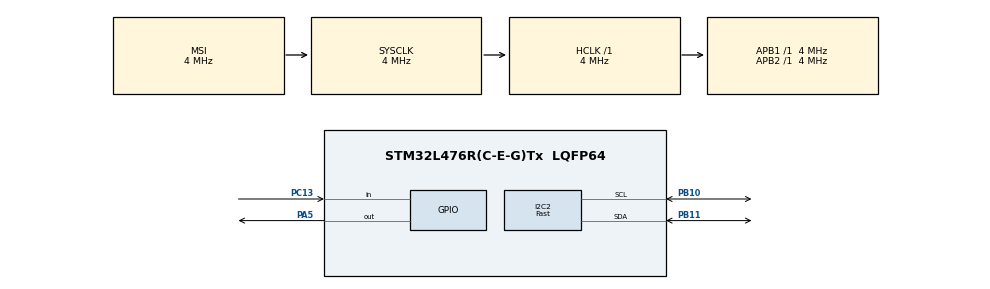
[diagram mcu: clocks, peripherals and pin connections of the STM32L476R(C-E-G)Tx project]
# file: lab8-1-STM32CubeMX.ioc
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I2C2.I2C_Speed_Mode=I2C_Fast
I2C2.Timing=0x00000004
Mcu.Family=STM32L4
Mcu.Name=STM32L476R(C-E-G)Tx
Mcu.Package=LQFP64
NVIC.PriorityGroup=NVIC_PRIORITYGROUP_4
PA14\ (JTCK-SWCLK).GPIO_Label=TCK
PA14\ (JTCK-SWCLK).Signal=SYS_JTCK-SWCLK
PA2.GPIO_Label=USART_TX
PA2.GPIO_Mode=GPIO_MODE_AF_PP
PA2.GPIO_PuPd=GPIO_NOPULL
PA2.GPIO_Speed=GPIO_SPEED_FREQ_VERY_HIGH
PA2.Signal=USART2_TX
PA3.GPIO_Label=USART_RX
PA3.GPIO_Mode=GPIO_MODE_AF_PP
PA3.GPIO_PuPd=GPIO_NOPULL
PA3.GPIO_Speed=GPIO_SPEED_FREQ_VERY_HIGH
PA3.Signal=USART2_RX
PA5.Signal=GPIO_Output
PB10.Mode=I2C
PB10.Signal=I2C2_SCL
PB11.Mode=I2C
PB11.Signal=I2C2_SDA
PB3\ (JTDO-TRACESWO).GPIO_Label=SWO
PB3\ (JTDO-TRACESWO).Signal=SYS_JTDO-SWO
PC13.Signal=GPIO_Input
PC14-OSC32_IN\ (PC14).Mode=LSE-External-Oscillator
PC14-OSC32_IN\ (PC14).Signal=RCC_OSC32_IN
PC15-OSC32_OUT\ (PC15).Mode=LSE-External-Oscillator
PC15-OSC32_OUT\ (PC15).Signal=RCC_OSC32_OUT
PH0-OSC_IN\ (PH0).Signal=RCC_OSC_IN
PH1-OSC_OUT\ (PH1).Signal=RCC_OSC_OUT
ProjectManager.HeapSize=0x200
ProjectManager.StackSize=0x400
ProjectManager.TargetToolchain=SW4STM32
RCC.ADCFreq_Value=64000000
RCC.AHBFreq_Value=4000000
RCC.APB1Freq_Value=4000000
RCC.APB1TimFreq_Value=4000000
RCC.APB2Freq_Value=4000000
RCC.APB2TimFreq_Value=4000000
RCC.CortexFreq_Value=4000000
RCC.HCLKFreq_Value=4000000
RCC.HSE_VALUE=8000000
RCC.HSI_VALUE=16000000
RCC.MSI_VALUE=4000000
RCC.PLLN=10
RCC.PLLSourceVirtual=RCC_PLLSOURCE_HSI
RCC.PREFETCH_ENABLE=1
RCC.SYSCLKFreq_VALUE=4000000
RCC.USBFreq_Value=64000000
RCC.VCOOutputFreq_Value=160000000
board=NUCLEO-L476RG

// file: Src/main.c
/* USER CODE BEGIN Header */
/**
  ******************************************************************************
  * @file           : main.c
  * @brief          : Main program body
  ******************************************************************************
  * @attention
  *
  * <h2><center>&copy; Copyright (c) 2019 STMicroelectronics.
  * All rights reserved.</center></h2>
  *
  * This software component is licensed by ST under BSD 3-Clause license,
  * the "License"; You may not use this file except in compliance with the
  * License. You may obtain a copy of the License at:
  *                        opensource.org/licenses/BSD-3-Clause
  *
  ******************************************************************************
  */
/* USER CODE END Header */

#include "main.h"

/* USER CODE BEGIN Includes */
#include "sd_hal_mpu6050.h"
#include "stm32l476xx.h"
/* USER CODE END Includes */

/* USER CODE BEGIN PD */
#define SET_REG(REG,SELECT,VAL) {((REG)=((REG)&(~(SELECT))) | (VAL));}
/* USER CODE END PD */

I2C_HandleTypeDef hi2c2;

/* USER CODE BEGIN PV */
// SD_MPU6050 mpu1;
// int16_t a_x, a_y, a_z;
// unsigned long long total;
// uint32_t previous_cnt = 0;
/* USER CODE END PV */

void SystemClock_Config(void);
static void MX_GPIO_Init(void);
static void MX_I2C2_Init(void);
/* USER CODE BEGIN PFP */
extern void max7219_send(unsigned char address, unsigned char data);
extern void max7219_init();
extern void Delay1sWith4MHz();
/* USER CODE END PFP */

/* USER CODE BEGIN 0 */
void speed_init() {
	// 光遮斷器
	RCC->AHB2ENR = RCC->AHB2ENR|0x7;
	//Set PB5 as INPUT mode
	SET_REG(GPIOB->MODER,GPIO_MODER_MODE5 ,0b00<<10);
	//set PB5 is Pull-down input
	SET_REG(GPIOB->PUPDR,GPIO_PUPDR_PUPD5 ,0b10<<10);
	//Set PB5 as high speed mode
	SET_REG(GPIOB->OSPEEDR,GPIO_OSPEEDR_OSPEED5 ,0b11<<10);
}
void led_test(){
	SET_REG(GPIOA->MODER,GPIO_MODER_MODE5 ,0b01<<10);
}
void EXTI_config(){
	SET_REG(RCC->APB2ENR, RCC_APB2ENR_SYSCFGEN, 1);

	SET_REG(SYSCFG->EXTICR[1], SYSCFG_EXTICR1_EXTI1, 0b001<<4);

	SET_REG(EXTI->IMR1, EXTI_IMR1_IM5, 1<<5);

	SET_REG(EXTI->EMR1, EXTI_EMR1_EM5, 0<<5);

	SET_REG(EXTI->RTSR1, EXTI_RTSR1_RT5, 1<<5);

	SET_REG(EXTI->FTSR1, EXTI_FTSR1_FT5, 0<<5);
}
void EXTI9_5_IRQHandler(void) {
	// 光遮斷器被遮斷時
	TIM2->CR1 &= ~TIM_CR1_CEN;
	double time=TIM2->CNT/1000000.0;
	/*if (previous_cnt - TIM2->CNT < -500000 && !(GPIOB->IDR&1<<0) && !(GPIOC->IDR&1<<0) && !(GPIOC->IDR&1<<1))
		GPIOC->BSRR = 0b11 << 2;
	else if (previous_cnt = TIM2->CNT && !(GPIOB->IDR&1<<0) && !(GPIOC->IDR&1<<0) && !(GPIOC->IDR&1<<1))
		GPIOC->BRR = 0b11 << 2;
	previous_cnt = TIM2->CNT;*/
	int speed=3.45/time *18/5; //meter per sec
	for(int i=1;i<3;i++){
		int data = speed%10;
		max7219_send(i,(char)data);
		speed=speed/10;
	}
	max7219_send(3, 15);
	max7219_send(4, 15);
	max7219_send(6, 15);
	max7219_send(7, 15);
	while(GPIOB->IDR&1<<5);
	Delay1sWith4MHz();
	Timer2_init();
	Timer2_start();
	SET_REG(EXTI->PR1, 1<<5,1<<5 );
}
int counter=0;
/*void EXTI9_5_IRQHandler(void){
	counter++;
	while(GPIOB->IDR&1<<5);
	Delay1sWith4MHz();
	SET_REG(EXTI->PR1, 1<<5,1<<5 );
}*/
void NVIC_config(){
	SET_REG(*(uint32_t *)0xE000E100, 0x0,1<<23 );
	SET_REG(*(uint32_t *)0xE000E100, 0x0,1<<28 );
	SET_REG(*(uint32_t *)0xE000E100, 0x0,1<<29 );
}

void Timer2_init(void){
	// 時速計時
	//Initialize timer
	TIM2->CR1 &= ~TIM_CR1_CEN;
	RCC->APB1ENR1 |= RCC_APB1ENR1_TIM2EN;
	SET_REG(TIM2->CR1, TIM_CR1_UDIS, 0 << 1);    //set timer interrupt
	SET_REG(TIM2->CR1, TIM_CR1_URS, 1 << 2);	//set timer interrupt
	SET_REG(TIM2->DIER, TIM_DIER_UDE, 1 << 8);  //set timer interrupt
	SET_REG(TIM2->DIER, TIM_DIER_UIE, 1 << 0);  //set timer interrupt
	SET_REG(TIM2->CR1, TIM_CR1_DIR, 0 << 4);// Edge-aligned mode, up counter
	SET_REG(TIM2->CCMR1, TIM_CCMR1_OC1M, 0b110 << 4);/*!<OC1M[2:0] bits (Output Compare 1 Mode) */
	SET_REG(TIM2->CCMR1, TIM_CCMR1_OC1PE, 0b1 << 3);/*!<Output Compare 1 Preload enable */
	SET_REG(TIM2->CR1, TIM_CR1_ARPE, 0b1 << 7);/*!<Auto-reload preload enable */
	SET_REG(TIM2->CCER, TIM_CCER_CC1P, 0b1 << 1); /*!<Capture/Compare 1 output Polarity */
	SET_REG(TIM2->CCER, TIM_CCER_CC1E, 0b1);/*!<Capture/Compare 1 output enable */
	SET_REG(TIM2->CCR1, TIM_CCR1_CCR1, 20000000/ 2);
	TIM2->ARR = (uint32_t)20000000;//Reload value 10s explosion
	TIM2->PSC = (uint32_t)1;//Prescaler /2 = 2MHz
	//TIM2->ARR = (uint32_t)4000000;//Reload value 1s explosion
	//TIM2->PSC = (uint32_t)0;//Prescaler  = 4MHz
	TIM2->EGR = TIM_EGR_UG;//Reinitialize the counter
}
void Timer3_init(void){
	// 方向燈每秒閃一次
	//Initialize timer
	TIM3->CR1 &= ~TIM_CR1_CEN;
	RCC->APB1ENR1 |= RCC_APB1ENR1_TIM3EN;
	SET_REG(TIM3->CR1, TIM_CR1_UDIS, 0 << 1);    //set timer interrupt
	SET_REG(TIM3->CR1, TIM_CR1_URS, 1 << 2);	//set timer interrupt
	SET_REG(TIM3->DIER, TIM_DIER_UDE, 1 << 8);  //set timer interrupt
	SET_REG(TIM3->DIER, TIM_DIER_UIE, 1 << 0);  //set timer interrupt
	SET_REG(TIM3->CR1, TIM_CR1_DIR, 0 << 4);// Edge-aligned mode, up counter
	SET_REG(TIM3->CCMR1, TIM_CCMR1_OC1M, 0b110 << 4);/*!<OC1M[2:0] bits (Output Compare 1 Mode) */
	SET_REG(TIM3->CCMR1, TIM_CCMR1_OC1PE, 0b1 << 3);/*!<Output Compare 1 Preload enable */
	SET_REG(TIM3->CR1, TIM_CR1_ARPE, 0b1 << 7);/*!<Auto-reload preload enable */
	SET_REG(TIM3->CCER, TIM_CCER_CC1P, 0b1 << 1); /*!<Capture/Compare 1 output Polarity */
	SET_REG(TIM3->CCER, TIM_CCER_CC1E, 0b1);/*!<Capture/Compare 1 output enable */
	//SET_REG(TIM3->CCR1, TIM_CCR1_CCR1, 20000000/ 2);
	//TIM3->ARR = (uint32_t)20000000;//Reload value 10s explosion
	//TIM3->PSC = (uint32_t)1;//Prescaler /2 = 2MHz
	TIM3->ARR = (uint32_t)10000;//Reload value 1s explosion
	TIM3->PSC = (uint32_t)399;//Prescaler  = 4MHz/400
	TIM3->EGR = TIM_EGR_UG;//Reinitialize the counter
}
void Direction_light_init(void){
	// PC01 方向燈三段式按鈕
	// PC23 左右方向燈
	RCC->AHB2ENR = RCC->AHB2ENR|0x7;
	//Set PC01 as INPUT mode
	SET_REG(GPIOC->MODER,GPIO_MODER_MODE0 ,0b00<<0);
	SET_REG(GPIOC->MODER,GPIO_MODER_MODE1 ,0b00<<2);
	//set PC01 is Pull-down inputGPIO_PUPDR_PUPD5
	SET_REG(GPIOC->PUPDR,GPIO_PUPDR_PUPD0 ,0b10<<0);
	SET_REG(GPIOC->PUPDR,GPIO_PUPDR_PUPD1 ,0b10<<2);
	//Set PC01 as high speed mode
	SET_REG(GPIOC->OSPEEDR,GPIO_OSPEEDR_OSPEED0 ,0b11<0);
	SET_REG(GPIOC->OSPEEDR,GPIO_OSPEEDR_OSPEED1 ,0b11<2);
	//set PC23 output mode
	SET_REG(GPIOC->MODER,GPIO_MODER_MODE2 ,0b01<<4);
	SET_REG(GPIOC->MODER,GPIO_MODER_MODE3 ,0b01<<6);
}
void Direction_light_detect(void){
	if(!(TIM3->SR &1)) {
		if((GPIOC->IDR&1<<0)||(GPIOC->IDR&1<<1)||(GPIOB->IDR&1<<0))
			Timer3_start();
		else
			GPIOC->BRR|=0b11<<2;
	}
}
void TIM2_IRQHandler(void){
	/*int speed = counter*3.45*18/5;
	for(int i=1;i<4;i++){
		int data = speed%10;
		max7219_send(i,(char)data);
		speed=speed/10;
	}
	counter=0;*/
	for(int i=1;i<=2;i++){
		max7219_send(i,(char)0);
	}
	SET_REG(TIM2->SR,0x1, 0); //clear interrupt pending
}
void TIM3_IRQHandler(void){
	// 判斷哪個方向燈要閃
	TIM3->CR1 &= ~TIM_CR1_CEN;
	if(GPIOC->ODR&1<<2||GPIOC->ODR&1<<3)
		GPIOC->BRR|=0b11<<2;//turn off the light
	else if(GPIOB->IDR&1<<0) {
		GPIOC->BSRR|=0b11<<2;
		max7219_send(5, 10);
		max7219_send(8, 10);
	}
	else if(GPIOC->IDR&1<<0) {
		GPIOC->BSRR|=1<<2;
		max7219_send(5, 15);
		max7219_send(8, 10);
	}
	else if(GPIOC->IDR&1<<1) {
		GPIOC->BSRR|=1<<3;
		max7219_send(5, 10);
		max7219_send(8, 15);
	}
	else {
		max7219_send(5, 15);
		max7219_send(8, 15);
	}
	Timer3_init();
	SET_REG(TIM3->SR,0x1, 0); //clear interrupt pending

}
void Timer2_start(void){
	TIM2->CR1 |= TIM_CR1_CEN;
}
void Timer3_start(void){
	TIM3->CR1 |= TIM_CR1_CEN;
}
void GPIO_init_AF(){
	//Initial PB7 as alternate function for buzzer.
	RCC->AHB2ENR |= 0b111;
	SET_REG(GPIOB->MODER, 0b11<<14, 0b10<<14);
	SET_REG(GPIOB->AFR[0], GPIO_AFRL_AFSEL7, 0x02<<28);
}
void Timer4_init(){
	// 蜂鳴器
	//Initialize timer
	TIM4->CR1 &= ~TIM_CR1_CEN;
	RCC->APB1ENR1 |= RCC_APB1ENR1_TIM4EN;
	SET_REG(TIM4->CR1, TIM_CR1_DIR, 0 << 4);// Edge-aligned mode, up counter
	SET_REG(TIM4->CCMR1, TIM_CCMR1_OC2M, 0b110 << 12);/*!<OC1M[2:0] bits (Output Compare 1 Mode) */
	SET_REG(TIM4->CCMR1, TIM_CCMR1_OC2PE, 0b1 << 11);/*!<Output Compare 1 Preload enable */
	SET_REG(TIM4->CR1, TIM_CR1_ARPE, 0b1 << 7);/*!<Auto-reload preload enable */
	SET_REG(TIM4->CCER, TIM_CCER_CC2P, 0b1 << 5); /*!<Capture/Compare 1 output Polarity */
	SET_REG(TIM4->CCER, TIM_CCER_CC2E, 0b1<<4);/*!<Capture/Compare 1 output enable */
	//SET_REG(TIM4->CCR1, TIM_CCR1_CCR1, 382 / 2);
	SET_REG(TIM4->CCR2, TIM_CCR2_CCR2, 382 / 2);
	TIM4->ARR = (uint32_t)382;//Reload value
	TIM4->PSC = (uint32_t)40;//Prescaler
	TIM4->EGR = TIM_EGR_UG;//Reinitialize the counter
}
void double_light_init() {
	// 雙黃燈
	RCC->AHB2ENR = RCC->AHB2ENR|0x7;
	//Set PB0 as INPUT mode
	SET_REG(GPIOB->MODER,GPIO_MODER_MODE0 ,0b00<<0);
	//set PB0 is Pull-down input
	SET_REG(GPIOB->PUPDR,GPIO_PUPDR_PUPD0 ,0b10<<0);
	//Set PB0 as high speed mode
	SET_REG(GPIOB->OSPEEDR,GPIO_OSPEEDR_OSPEED0 ,0b11<<0);
}
void GPIO_init_ButtonANDBuzzer() {
	RCC->AHB2ENR = RCC->AHB2ENR|0x1;
	//Set PA10 as INPUT mode
	SET_REG(GPIOA->MODER,GPIO_MODER_MODE10 ,0b00<<20);
	//set PA10 is Pull-down input
	SET_REG(GPIOA->PUPDR,GPIO_PUPDR_PUPD10 ,0b10<<20);
}
/*
void ReadAcc(int16_t *x, int16_t *y, int16_t *z, unsigned long long *total) {
	SD_MPU6050_ReadAccelerometer(&hi2c2,&mpu1);
	*x = mpu1.Accelerometer_X - _x;
	*y = mpu1.Accelerometer_Y - _y;
	*z = mpu1.Accelerometer_Z - _z;
	*total = (*x)*(*x) + (*y)*(*y) + (*z)*(*z);
}
*/

/* USER CODE END 0 */

int main(void)
{
  /* USER CODE BEGIN 1 */
  // SD_MPU6050_Result result;
  /* USER CODE END 1 */

  /* MCU Configuration--------------------------------------------------------*/

  /* Reset of all peripherals, Initializes the Flash interface and the Systick. */
  HAL_Init();

  /* Configure the system clock */
  SystemClock_Config();

  /* Initialize all configured peripherals */
  MX_GPIO_Init();
  MX_I2C2_Init();
  /* USER CODE BEGIN 2 */
  speed_init();
  //led_test();
  EXTI_config();
  NVIC_config();
  Timer2_init();
  Timer2_start();
  max7219_init();
  Timer3_init();
  Timer4_init();
  GPIO_init_AF();
  Direction_light_init();
  double_light_init();
  GPIO_init_ButtonANDBuzzer();
  TIM4->CR1 |= TIM_CR1_CEN;
  // result = SD_MPU6050_Init(&hi2c2,&mpu1,SD_MPU6050_Device_0,SD_MPU6050_Accelerometer_4G,SD_MPU6050_Gyroscope_250s);
  /* USER CODE END 2 */

  /* Infinite loop */
  /* USER CODE BEGIN WHILE */
  while (1)
  {
    HAL_Delay(10);
    max7219_send(3, 15);
	max7219_send(4, 15);
	max7219_send(6, 15);
	max7219_send(7, 15);
    /* USER CODE END WHILE */
	// SD_MPU6050_ReadTemperature(&hi2c2,&mpu1);
	// float temper = mpu1.Temperature;
    /*
	SD_MPU6050_ReadGyroscope(&hi2c2,&mpu1);
	int16_t g_x = mpu1.Gyroscope_X;
	int16_t g_y = mpu1.Gyroscope_Y;
	int16_t g_z = mpu1.Gyroscope_Z;
	*/
    /* USER CODE BEGIN 3 */
    // SD_MPU6050_ReadAccelerometer(&hi2c2,&mpu1);
    // int16_t a_x = mpu1.Accelerometer_X;
 	// int16_t a_y = mpu1.Accelerometer_Y;
    // int16_t a_z = mpu1.Accelerometer_Z;
	// ReadAcc(&a_x, &a_y, &a_z, &total);
	// if (a_y > -1000 && a_y < 1000)
	// 	a_y = 0;
    if (GPIOA->IDR & 1<<10) {
    	SET_REG(GPIOB->AFR[0], GPIO_AFRL_AFSEL7, 0x02<<28);
    }
    else {
    	SET_REG(GPIOB->AFR[0], GPIO_AFRL_AFSEL7, 0x00<<28);
    }
	Direction_light_detect();
	/*
	if (a_y < 0)
		max7219_send(8, (char)10); // -
	else
		max7219_send(8, (char)15); // blank
	int i;
	for(i=3;i<8;i++){
		int16_t data = a_y % 10;
		data = data < 0 ? -data : data;
		max7219_send(i,(char)data);
		a_y /= 10;
	}
	*/
  }
  /* USER CODE END 3 */
}

void SystemClock_Config(void)
{
  RCC_OscInitTypeDef RCC_OscInitStruct = {0};
  RCC_ClkInitTypeDef RCC_ClkInitStruct = {0};
  RCC_PeriphCLKInitTypeDef PeriphClkInit = {0};

  /** Configure LSE Drive Capability
  */
  HAL_PWR_EnableBkUpAccess();
  __HAL_RCC_LSEDRIVE_CONFIG(RCC_LSEDRIVE_LOW);
  /** Initializes the CPU, AHB and APB busses clocks
  */
  RCC_OscInitStruct.OscillatorType = RCC_OSCILLATORTYPE_LSE|RCC_OSCILLATORTYPE_MSI;
  RCC_OscInitStruct.LSEState = RCC_LSE_ON;
  RCC_OscInitStruct.MSIState = RCC_MSI_ON;
  RCC_OscInitStruct.MSICalibrationValue = 0;
  RCC_OscInitStruct.MSIClockRange = RCC_MSIRANGE_6;
  RCC_OscInitStruct.PLL.PLLState = RCC_PLL_NONE;
  if (HAL_RCC_OscConfig(&RCC_OscInitStruct) != HAL_OK)
  {
    Error_Handler();
  }
  /** Initializes the CPU, AHB and APB busses clocks
  */
  RCC_ClkInitStruct.ClockType = RCC_CLOCKTYPE_HCLK|RCC_CLOCKTYPE_SYSCLK
                              |RCC_CLOCKTYPE_PCLK1|RCC_CLOCKTYPE_PCLK2;
  RCC_ClkInitStruct.SYSCLKSource = RCC_SYSCLKSOURCE_MSI;
  RCC_ClkInitStruct.AHBCLKDivider = RCC_SYSCLK_DIV1;
  RCC_ClkInitStruct.APB1CLKDivider = RCC_HCLK_DIV1;
  RCC_ClkInitStruct.APB2CLKDivider = RCC_HCLK_DIV1;

  if (HAL_RCC_ClockConfig(&RCC_ClkInitStruct, FLASH_LATENCY_0) != HAL_OK)
  {
    Error_Handler();
  }
  PeriphClkInit.PeriphClockSelection = RCC_PERIPHCLK_I2C2;
  PeriphClkInit.I2c2ClockSelection = RCC_I2C2CLKSOURCE_PCLK1;
  if (HAL_RCCEx_PeriphCLKConfig(&PeriphClkInit) != HAL_OK)
  {
    Error_Handler();
  }
  /** Configure the main internal regulator output voltage
  */
  if (HAL_PWREx_ControlVoltageScaling(PWR_REGULATOR_VOLTAGE_SCALE1) != HAL_OK)
  {
    Error_Handler();
  }
  /** Enable MSI Auto calibration
  */
  HAL_RCCEx_EnableMSIPLLMode();
}

static void MX_I2C2_Init(void)
{

  hi2c2.Instance = I2C2;
  hi2c2.Init.Timing = 0x00000004;
  hi2c2.Init.OwnAddress1 = 0;
  hi2c2.Init.AddressingMode = I2C_ADDRESSINGMODE_7BIT;
  hi2c2.Init.DualAddressMode = I2C_DUALADDRESS_DISABLE;
  hi2c2.Init.OwnAddress2 = 0;
  hi2c2.Init.OwnAddress2Masks = I2C_OA2_NOMASK;
  hi2c2.Init.GeneralCallMode = I2C_GENERALCALL_DISABLE;
  hi2c2.Init.NoStretchMode = I2C_NOSTRETCH_DISABLE;
  if (HAL_I2C_Init(&hi2c2) != HAL_OK)
  {
    Error_Handler();
  }
  /** Configure Analogue filter
  */
  if (HAL_I2CEx_ConfigAnalogFilter(&hi2c2, I2C_ANALOGFILTER_ENABLE) != HAL_OK)
  {
    Error_Handler();
  }
  /** Configure Digital filter
  */
  if (HAL_I2CEx_ConfigDigitalFilter(&hi2c2, 0) != HAL_OK)
  {
    Error_Handler();
  }

}

static void MX_GPIO_Init(void)
{
  GPIO_InitTypeDef GPIO_InitStruct = {0};

  /* GPIO Ports Clock Enable */
  __HAL_RCC_GPIOC_CLK_ENABLE();
  __HAL_RCC_GPIOH_CLK_ENABLE();
  __HAL_RCC_GPIOA_CLK_ENABLE();
  __HAL_RCC_GPIOB_CLK_ENABLE();

  /*Configure GPIO pin Output Level */
  HAL_GPIO_WritePin(GPIOA, GPIO_PIN_5, GPIO_PIN_RESET);

  /*Configure GPIO pin : PC13 */
  GPIO_InitStruct.Pin = GPIO_PIN_13;
  GPIO_InitStruct.Mode = GPIO_MODE_INPUT;
  GPIO_InitStruct.Pull = GPIO_NOPULL;
  HAL_GPIO_Init(GPIOC, &GPIO_InitStruct);

  /*Configure GPIO pins : USART_TX_Pin USART_RX_Pin */
  GPIO_InitStruct.Pin = USART_TX_Pin|USART_RX_Pin;
  GPIO_InitStruct.Mode = GPIO_MODE_AF_PP;
  GPIO_InitStruct.Pull = GPIO_NOPULL;
  GPIO_InitStruct.Speed = GPIO_SPEED_FREQ_VERY_HIGH;
  GPIO_InitStruct.Alternate = GPIO_AF7_USART2;
  HAL_GPIO_Init(GPIOA, &GPIO_InitStruct);

  /*Configure GPIO pin : PA5 */
  GPIO_InitStruct.Pin = GPIO_PIN_5;
  GPIO_InitStruct.Mode = GPIO_MODE_OUTPUT_PP;
  GPIO_InitStruct.Pull = GPIO_NOPULL;
  GPIO_InitStruct.Speed = GPIO_SPEED_FREQ_LOW;
  HAL_GPIO_Init(GPIOA, &GPIO_InitStruct);

}

void Error_Handler(void)
{
}

/************************ (C) COPYRIGHT STMicroelectronics *****END OF FILE****/
